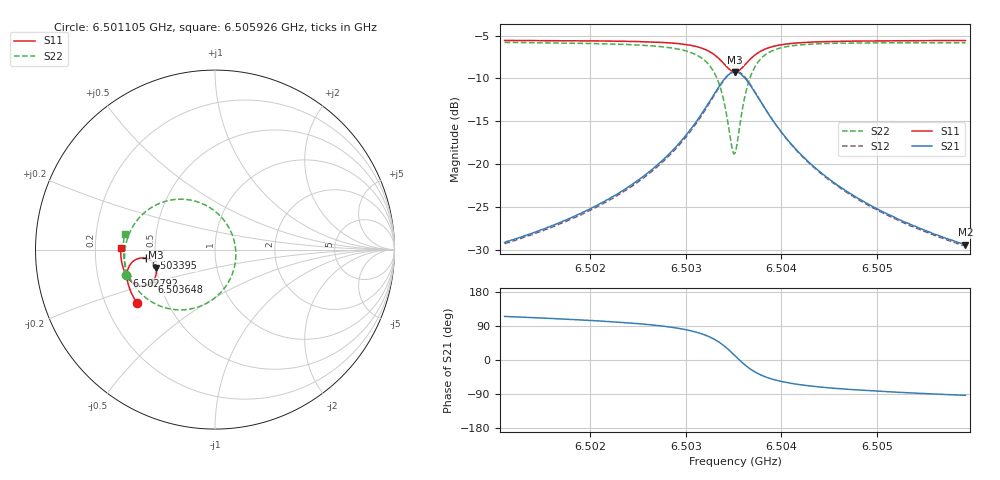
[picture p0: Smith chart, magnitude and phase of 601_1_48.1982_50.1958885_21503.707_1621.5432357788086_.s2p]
#  HZ  S  RI  R  50.00
! Rohde & Schwarz Vector Network Analyzer
! Rohde-Schwarz,ZNB20-2Port,1311601062101988,3.16
! Created: UTC 3/20/2024, 12:03:00 PM
! freq[Hz]  re:S11  im:S11  re:S21  im:S21  re:S12  im:S12  re:S22  im:S22
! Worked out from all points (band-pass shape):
!   401 points, 6.501105 GHz to 6.505926 GHz, reference 50 ohm
!   highest |S21| = -9.23 dB at 6.503515 GHz (marker M1); lowest = -29.4 dB at 6.505926 GHz (marker M2)
!   |S21| within 3 dB of the highest: 6.503274 GHz to 6.503757 GHz (482.3 kHz wide, 0.00742 % of centre)
!   lowest |S11| = -9.2 dB at 6.503515 GHz (marker M3), VSWR 2.05, Z = 24.8 - j5.71 ohm
!   |S11| at or under -10 dB: nowhere
!   |S22| runs from -18.8 to -5.8 dB; largest |S21 - S12| = 0.012
!   S11 on the Smith chart (normalised r, x): 6.501105 GHz: 0.34, -0.28; 6.502792 GHz: 0.33, -0.13; 6.503395 GHz: 0.44, -0.05; 6.503648 GHz: 0.45, -0.19; 6.505926 GHz: 0.31, +0.01
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6.5011046e9  -0.4333 -0.3002  -0.0147 0.0316  -0.0131 0.0317  -0.4933 -0.1419
6.5019122e9  -0.4671 -0.2392  -0.0139 0.0501  -0.0115 0.0494  -0.5043 -0.0535
6.5023581e9  -0.4821 -0.1985  -0.0106 0.0702  -0.00776 0.0691  -0.4996 0.0123
6.5027197e9  -0.4899 -0.1571  -0.00107 0.1008  0.00267 0.0983  -0.4782 0.0882
6.502792e9  -0.4903 -0.1471  0.00306 0.1098  0.00681 0.107  -0.4694 0.1076
6.5029969e9  -0.4863 -0.1137  0.0248 0.1441  0.0286 0.1397  -0.4239 0.1755
6.5031536e9  -0.4712 -0.0812  0.0651 0.1807  0.0678 0.1749  -0.3458 0.2394
6.5032982e9  -0.4324 -0.0516  0.1484 0.2097  0.1489 0.2037  -0.1942 0.2809
6.5033464e9  -0.4107 -0.0468  0.1916 0.2084  0.1915 0.203  -0.1183 0.272
6.5033947e9  -0.385 -0.0489  0.2414 0.1927  0.2415 0.1885  -0.0331 0.2368
6.503479e9  -0.3411 -0.0788  0.3212 0.1164  0.3238 0.1129  0.0945 0.0869
6.5035152e9  -0.33 -0.1016  0.339 0.0667  0.3431 0.0619  0.1156 -0.00654
6.5035393e9  -0.3268 -0.1183  0.3426 0.0314  0.347 0.0252  0.1133 -0.0715
6.5035755e9  -0.3291 -0.1428  0.335 -0.0199  0.3391 -0.0284  0.0851 -0.1622
6.5036478e9  -0.3518 -0.1809  0.2872 -0.0977  0.2876 -0.1093  -0.0273 -0.2881
6.5037442e9  -0.3935 -0.201  0.2073 -0.1416  0.2026 -0.152  -0.1903 -0.3358
6.5039009e9  -0.4437 -0.1937  0.1173 -0.141  0.1104 -0.1465  -0.3535 -0.2908
6.5040696e9  -0.4734 -0.1725  0.0686 -0.1193  0.0622 -0.1219  -0.4328 -0.2228
6.5043227e9  -0.4961 -0.141  0.035 -0.0922  0.0302 -0.0928  -0.4812 -0.1439
6.5046964e9  -0.5121 -0.1011  0.015 -0.0671  0.0117 -0.0665  -0.5046 -0.0656
6.5051303e9  -0.5213 -0.0603  0.00545 -0.0503  0.00301 -0.0496  -0.5107 -0.00197
6.5059258e9  -0.5265 0.00776  -0.00191 -0.0338  -0.00328 -0.033  -0.5039 0.0848
